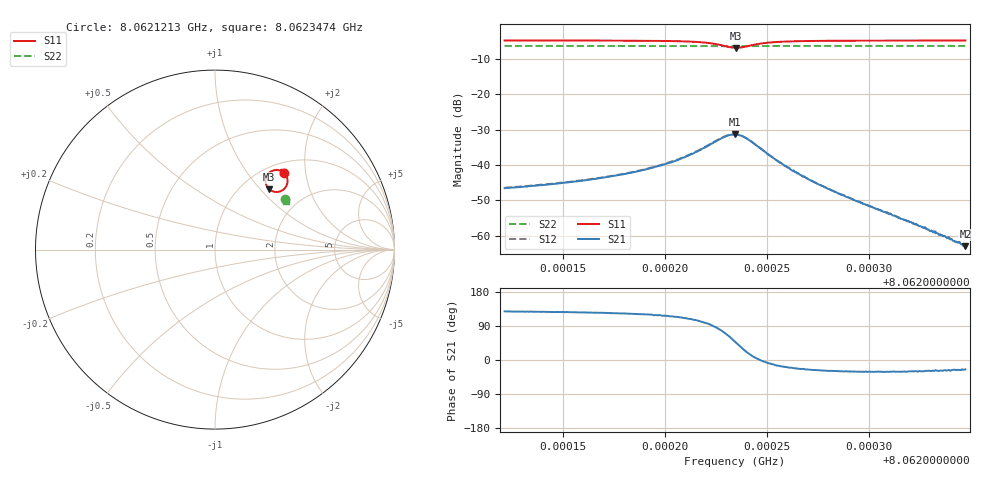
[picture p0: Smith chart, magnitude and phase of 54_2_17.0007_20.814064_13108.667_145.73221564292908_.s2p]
#  HZ  S  RI  R  50.00
! Rohde & Schwarz Vector Network Analyzer
! Rohde-Schwarz,ZNB20-2Port,1311601062101988,3.16
! Created: UTC 3/20/2024, 10:54:25 PM
! freq[Hz]  re:S11  im:S11  re:S21  im:S21  re:S12  im:S12  re:S22  im:S22
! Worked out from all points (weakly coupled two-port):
!   401 points, 8.0621213 GHz to 8.0623474 GHz, reference 50 ohm
!   highest |S21| = -31.35 dB at 8.0622344 GHz (marker M1); lowest = -63.0 dB at 8.0623474 GHz (marker M2)
!   lowest |S11| = -6.9 dB at 8.0622349 GHz (marker M3), VSWR 2.65, Z = 66.4 + j56.1 ohm
!   |S11| at or under -10 dB: nowhere
!   |S22| runs from -6.4 to -6.3 dB; largest |S21 - S12| = 0.0022
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8.06212132e9  0.386 0.4264  -0.00292 0.00368  -0.00272 0.0039  0.3895 0.2834
8.06214054e9  0.3888 0.4234  -0.00316 0.00417  -0.00296 0.0044  0.3901 0.2824
8.06215919e9  0.3917 0.4195  -0.00349 0.00487  -0.00323 0.00513  0.3908 0.2813
8.0621801e9  0.3963 0.4125  -0.00402 0.00625  -0.00369 0.00662  0.3916 0.28
8.06219706e9  0.4011 0.4016  -0.00463 0.00847  -0.00406 0.00896  0.3921 0.2786
8.06220384e9  0.4031 0.3942  -0.00464 0.0101  -0.00405 0.0105  0.3925 0.2779
8.06221063e9  0.4041 0.3831  -0.00447 0.0124  -0.00374 0.013  0.3924 0.2772
8.06222193e9  0.3947 0.3495  -0.00138 0.0192  -2.86e-05 0.0195  0.3918 0.2754
8.06222984e9  0.351 0.3214  0.00887 0.0238  0.0108 0.0233  0.3898 0.2747
8.06223437e9  0.3075 0.3321  0.0181 0.0202  0.0196 0.0189  0.3883 0.2756
8.06223493e9  0.3027 0.3358  0.0188 0.0191  0.0204 0.0179  0.3882 0.2758
8.06223945e9  0.2816 0.3763  0.0223 0.00978  0.0229 0.00824  0.3881 0.2775
8.0622485e9  0.3046 0.4306  0.0157 -0.00118  0.0156 -0.00225  0.3902 0.279
8.06225528e9  0.3254 0.4411  0.011 -0.00291  0.0108 -0.00362  0.3914 0.2788
8.0622615e9  0.3385 0.4435  0.00817 -0.003  0.00812 -0.00359  0.3921 0.2785
8.06227224e9  0.3527 0.4428  0.0053 -0.0026  0.00518 -0.00292  0.3931 0.2778
8.06229202e9  0.3657 0.4393  0.00281 -0.00166  0.00272 -0.00183  0.3942 0.2764
8.06231011e9  0.3721 0.4364  0.00174 -0.00103  0.00171 -0.00116  0.395 0.2756
8.0623282e9  0.3762 0.4339  0.00112 -0.000598  0.00105 -0.000666  0.3955 0.2743
8.06234007e9  0.3784 0.4325  0.000782 -0.000424  0.000768 -0.000451  0.3961 0.2737
8.06234233e9  0.3788 0.4324  0.000748 -0.000363  0.000705 -0.000412  0.3963 0.2736
8.06234742e9  0.3796 0.432  0.000646 -0.000298  0.000645 -0.000344  0.3964 0.2733
